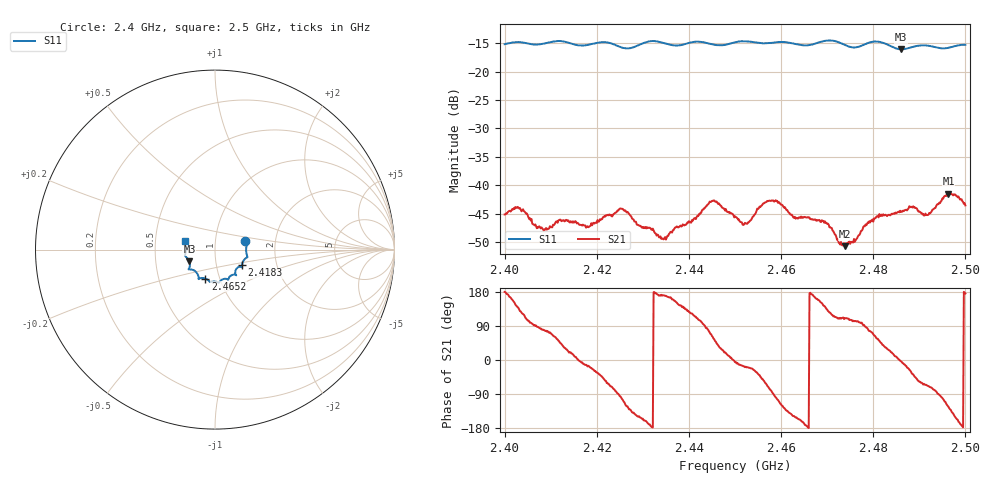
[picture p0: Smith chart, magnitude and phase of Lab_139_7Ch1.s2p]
# Hz S RI R 50
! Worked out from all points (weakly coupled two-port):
!   601 points, 2.4 GHz to 2.5 GHz, reference 50 ohm
!   highest |S21| = -41.51 dB at 2.4963 GHz (marker M1); lowest = -50.7 dB at 2.4738 GHz (marker M2)
!   lowest |S11| = -16.1 dB at 2.486 GHz (marker M3), VSWR 1.37, Z = 37.2 - j5.04 ohm
!   |S11| at or under -10 dB: start of sweep to end of sweep
!   S12 and S22 are empty: the file has one direction only
!   S11 on the Smith chart (normalised r, x): 2.4 GHz: 1.40, +0.14; 2.4183 GHz: 1.33, -0.24; 2.4652 GHz: 0.85, -0.28; 2.5 GHz: 0.71, +0.07
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2.4e9  0.1681 0.0469  -0.00553 2.53e-05  0 0  0 0
2.402833e9  0.179 0.0332  -0.00489 0.0042  0 0  0 0
2.408667e9  0.1757 -0.0227  0.000859 0.00399  0 0  0 0
2.412167e9  0.1812 -0.0417  0.00355 0.00347  0 0  0 0
2.416667e9  0.1553 -0.0682  0.00443 -0.0005  0 0  0 0
2.418333e9  0.1499 -0.0866  0.00412 -0.00126  0 0  0 0
2.425333e9  0.1318 -0.0966  -0.0011 -0.0061  0 0  0 0
2.433333e9  0.1171 -0.1415  -0.0036 0.000517  0 0  0 0
2.435e9  0.1089 -0.1385  -0.00327 0.000608  0 0  0 0
2.445e9  0.0624 -0.1627  0.00327 0.0065  0 0  0 0
2.45e9  0.0258 -0.1796  0.0053 -0.000521  0 0  0 0
2.452167e9  0.0206 -0.184  0.00441 -0.00151  0 0  0 0
2.457833e9  -0.0155 -0.1783  0.00119 -0.00718  0 0  0 0
2.465167e9  -0.0545 -0.1613  -0.0052 -0.000803  0 0  0 0
2.466667e9  -0.0708 -0.1578  -0.00496 0.000598  0 0  0 0
2.469833e9  -0.091 -0.1639  -0.0033 0.0033  0 0  0 0
2.473833e9  -0.0942 -0.1439  -0.00103 0.00272  0 0  0 0
2.483333e9  -0.1414 -0.0968  0.00492 0.00244  0 0  0 0
2.486e9  -0.1426 -0.066  0.0058 -0.000322  0 0  0 0
2.492e9  -0.1666 -0.0279  0.002 -0.00513  0 0  0 0
2.496333e9  -0.1611 0.0189  -0.00467 -0.00699  0 0  0 0
2.5e9  -0.166 0.0472  -0.00662 0.000519  0 0  0 0
